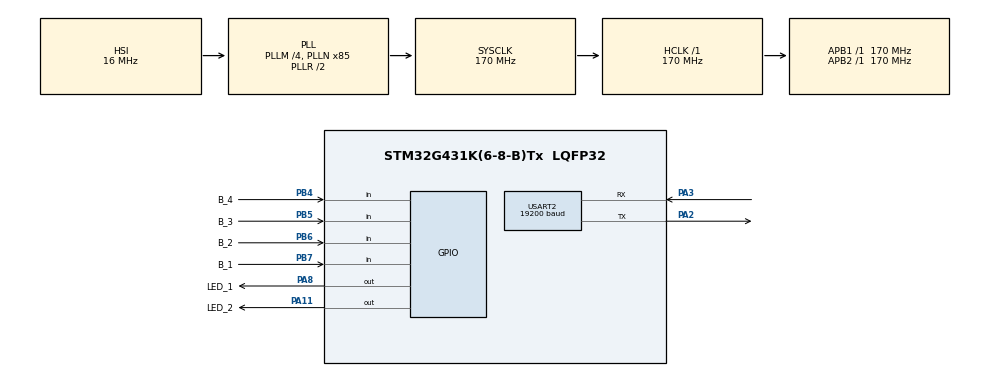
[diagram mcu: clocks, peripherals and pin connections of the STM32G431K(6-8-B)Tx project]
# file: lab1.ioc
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Mcu.Family=STM32G4
Mcu.Name=STM32G431K(6-8-B)Tx
Mcu.Package=LQFP32
NUCLEO-G431KB.LD2=true
NUCLEO-G431KB.VCP=false
NVIC.PriorityGroup=NVIC_PRIORITYGROUP_4
PA11.GPIO_Label=LED_2
PA11.Signal=GPIO_Output
PA13.GPIO_Label=T_SWDIO
PA13.Signal=SYS_JTMS-SWDIO
PA14.GPIO_Label=T_SWCLK
PA14.Signal=SYS_JTCK-SWCLK
PA2.Mode=Asynchronous
PA2.Signal=USART2_TX
PA3.Mode=Asynchronous
PA3.Signal=USART2_RX
PA8.GPIO_Label=LED_1
PA8.Signal=GPIO_Output
PB4.GPIO_Label=B_4
PB4.GPIO_PuPd=GPIO_PULLUP
PB4.Signal=GPIO_Input
PB5.GPIO_Label=B_3
PB5.GPIO_PuPd=GPIO_PULLUP
PB5.Signal=GPIO_Input
PB6.GPIO_Label=B_2
PB6.GPIO_PuPd=GPIO_PULLUP
PB6.Signal=GPIO_Input
PB7.GPIO_Label=B_1
PB7.GPIO_PuPd=GPIO_PULLUP
PB7.Signal=GPIO_Input
ProjectManager.HeapSize=0x200
ProjectManager.StackSize=0x400
ProjectManager.TargetToolchain=STM32CubeIDE
RCC.ADC12Freq_Value=170000000
RCC.AHBFreq_Value=170000000
RCC.APB1Freq_Value=170000000
RCC.APB1TimFreq_Value=170000000
RCC.APB2Freq_Value=170000000
RCC.APB2TimFreq_Value=170000000
RCC.CortexFreq_Value=170000000
RCC.EXTERNAL_CLOCK_VALUE=12288000
RCC.HCLKFreq_Value=170000000
RCC.HSE_VALUE=8000000
RCC.HSI48_VALUE=48000000
RCC.HSI_VALUE=16000000
RCC.LSE_VALUE=32768
RCC.PLLM=RCC_PLLM_DIV4
RCC.PLLN=85
RCC.SYSCLKFreq_VALUE=170000000
RCC.SYSCLKSource=RCC_SYSCLKSOURCE_PLLCLK
RCC.USBFreq_Value=170000000
RCC.VCOOutputFreq_Value=340000000
USART2.BaudRate=19200
USART2.VirtualMode-Asynchronous=VM_ASYNC
VP_NUCLEO-G431KB_VS_BSP_COMMON.Mode=COMMON
VP_SYS_VS_DBSignals.Mode=DisableDeadBatterySignals
board=NUCLEO-G431KB

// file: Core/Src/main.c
/* USER CODE BEGIN Header */
/**
 ******************************************************************************
 * @file           : main.c
 * @brief          : Main program body
 ******************************************************************************
 * @attention
 *
 * Copyright (c) 2026 STMicroelectronics.
 * All rights reserved.
 *
 * This software is licensed under terms that can be found in the LICENSE file
 * in the root directory of this software component.
 * If no LICENSE file comes with this software, it is provided AS-IS.
 *
 ******************************************************************************
 */
/* USER CODE END Header */
#include "main.h"
#include "usart.h"
#include "gpio.h"
#include <stdio.h>

/* USER CODE BEGIN PTD */
typedef struct {
	GPIO_TypeDef *port;
	uint16_t pin;
	int8_t step;
	uint8_t pressed;
	uint8_t long_done;
	uint32_t t_press;
} Button_t;
/* USER CODE END PTD */

/* USER CODE BEGIN PD */
#define LONG_PRESS_MS    1000
#define LED_PERIOD_MS    500
#define UART_PERIOD_MS   1000
/* USER CODE END PD */

/* USER CODE BEGIN PV */
volatile int32_t n = 0;
Button_t btn1 = { B_1_GPIO_Port, B_1_Pin, +1, 0, 0, 0 };
Button_t btn2 = { B_2_GPIO_Port, B_2_Pin, -1, 0, 0, 0 };
/* USER CODE END PV */

void SystemClock_Config(void);

/* USER CODE BEGIN 0 */
static void Button_Update(Button_t *b) {
	uint32_t now = HAL_GetTick();
	uint8_t is_pressed = (HAL_GPIO_ReadPin(b->port, b->pin) == GPIO_PIN_RESET); // pull-up: wciśnięty = 0

	if (is_pressed && !b->pressed)              // wciśnięcie
			{
		b->pressed = 1;
		b->long_done = 0;
		b->t_press = now;
	} else if (!is_pressed && b->pressed)         // puszczenie
			{
		b->pressed = 0;
		if (!b->long_done)                      // to było krótkie naciśnięcie
			n += b->step;
	} else if (is_pressed && !b->long_done
			&& (now - b->t_press >= LONG_PRESS_MS))   // trzymany ponad 1 s
			{
		n += 5 * b->step;
		b->long_done = 1;
	}
}
/* USER CODE END 0 */

int main(void) {

	/* MCU Configuration--------------------------------------------------------*/

	/* Reset of all peripherals, Initializes the Flash interface and the Systick. */
	HAL_Init();

	/* Configure the system clock */
	SystemClock_Config();

	/* Initialize all configured peripherals */
	MX_GPIO_Init();
	MX_USART2_UART_Init();
	/* USER CODE BEGIN 2 */
	uint32_t t_led = 0, t_uart = 0;
	uint32_t counter = 1;
	char msg[40];
	/* USER CODE END 2 */

	/* Infinite loop */
	while (1) {

		/* USER CODE BEGIN 3 */
		uint32_t now = HAL_GetTick();

		// 1) LED_1 - 1 Hz
		if (now - t_led >= LED_PERIOD_MS) {
			t_led = now;
			HAL_GPIO_TogglePin(LED_1_GPIO_Port, LED_1_Pin);
		}

		// 2) UART - co 1 s
		if (now - t_uart >= UART_PERIOD_MS) {
			t_uart = now;
			int len = snprintf(msg, sizeof(msg), "Hello world: %lu-%ld\r\n",
					(unsigned long) counter++, (long) n);
			HAL_UART_Transmit(&huart2, (uint8_t*) msg, len, 100);
		}

		// 3) B_3 / B_4 - natychmiast
		if (HAL_GPIO_ReadPin(B_3_GPIO_Port, B_3_Pin) == GPIO_PIN_RESET)
			HAL_GPIO_WritePin(LED_2_GPIO_Port, LED_2_Pin, GPIO_PIN_SET);
		if (HAL_GPIO_ReadPin(B_4_GPIO_Port, B_4_Pin) == GPIO_PIN_RESET)
			HAL_GPIO_WritePin(LED_2_GPIO_Port, LED_2_Pin, GPIO_PIN_RESET);

		// 4) B_1 / B_2 - zmiana n
		Button_Update(&btn1);
		Button_Update(&btn2);
	}
	/* USER CODE END 3 */
}

void SystemClock_Config(void) {
	RCC_OscInitTypeDef RCC_OscInitStruct = { 0 };
	RCC_ClkInitTypeDef RCC_ClkInitStruct = { 0 };

	/** Configure the main internal regulator output voltage
	 */
	HAL_PWREx_ControlVoltageScaling(PWR_REGULATOR_VOLTAGE_SCALE1_BOOST);

	/** Initializes the RCC Oscillators according to the specified parameters
	 * in the RCC_OscInitTypeDef structure.
	 */
	RCC_OscInitStruct.OscillatorType = RCC_OSCILLATORTYPE_HSI;
	RCC_OscInitStruct.HSIState = RCC_HSI_ON;
	RCC_OscInitStruct.HSICalibrationValue = RCC_HSICALIBRATION_DEFAULT;
	RCC_OscInitStruct.PLL.PLLState = RCC_PLL_ON;
	RCC_OscInitStruct.PLL.PLLSource = RCC_PLLSOURCE_HSI;
	RCC_OscInitStruct.PLL.PLLM = RCC_PLLM_DIV4;
	RCC_OscInitStruct.PLL.PLLN = 85;
	RCC_OscInitStruct.PLL.PLLP = RCC_PLLP_DIV2;
	RCC_OscInitStruct.PLL.PLLQ = RCC_PLLQ_DIV2;
	RCC_OscInitStruct.PLL.PLLR = RCC_PLLR_DIV2;
	if (HAL_RCC_OscConfig(&RCC_OscInitStruct) != HAL_OK) {
		Error_Handler();
	}

	/** Initializes the CPU, AHB and APB buses clocks
	 */
	RCC_ClkInitStruct.ClockType = RCC_CLOCKTYPE_HCLK | RCC_CLOCKTYPE_SYSCLK
			| RCC_CLOCKTYPE_PCLK1 | RCC_CLOCKTYPE_PCLK2;
	RCC_ClkInitStruct.SYSCLKSource = RCC_SYSCLKSOURCE_PLLCLK;
	RCC_ClkInitStruct.AHBCLKDivider = RCC_SYSCLK_DIV1;
	RCC_ClkInitStruct.APB1CLKDivider = RCC_HCLK_DIV1;
	RCC_ClkInitStruct.APB2CLKDivider = RCC_HCLK_DIV1;

	if (HAL_RCC_ClockConfig(&RCC_ClkInitStruct, FLASH_LATENCY_4) != HAL_OK) {
		Error_Handler();
	}
}

/* USER CODE BEGIN Header */
/**
 ******************************************************************************
 * @file           : main.c
 * @brief          : Main program body
 ******************************************************************************
 * @attention
 *
 * Copyright (c) 2026 STMicroelectronics.
 * All rights reserved.
 *
 * This software is licensed under terms that can be found in the LICENSE file
 * in the root directory of this software component.
 * If no LICENSE file comes with this software, it is provided AS-IS.
 *
 ******************************************************************************
 */
/* USER CODE END Header */

void Error_Handler(void) {
	__disable_irq();
	while (1) {
	}
}
